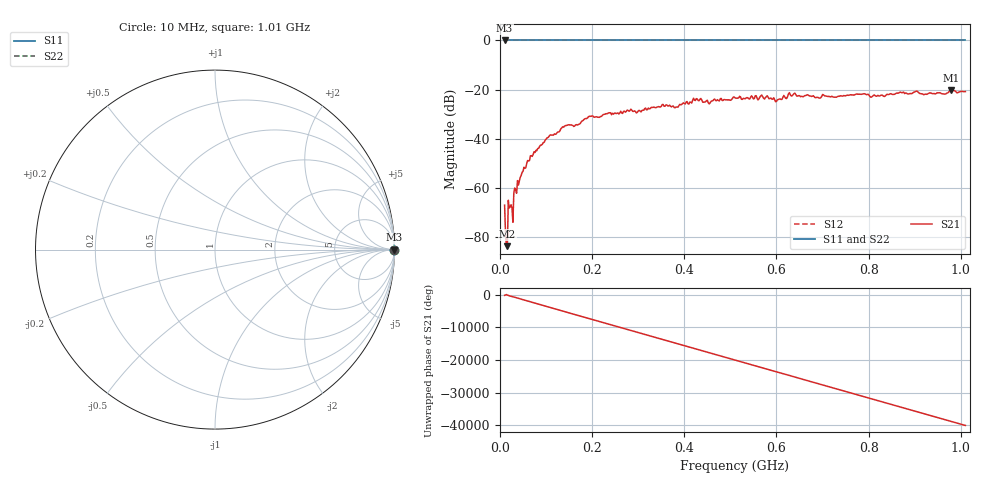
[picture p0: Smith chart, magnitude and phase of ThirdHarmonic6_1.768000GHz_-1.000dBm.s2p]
! 8/16/2025 9:21:25 PM
! C:\ANRITSUVNA\TEMP\TEMP.S2P
! CHANNEL.1
! TR.MEASUREMENT
! RAW.DATA
! RF.CORRECTION.OFF
! AVERAGING.OFF
! IF.BANDWIDTH: 5KHZ
! SWEEPTYPE:  FREQ.SWEEP(Linear)
! Reference Plane Port Info
! PORT:  PORT1  PORT2
! DISTANCE:  0  m  0  m
! TIME:  0  s  0  s
! PHASE.OFFSET:  0  deg.  0  deg.
! LOSS:  0  dB  0  dB
! REF.LOSS:  0  dB  0  dB
! REF.FREQ:  0  Hz  0  Hz
! Power Info
! POWER:  -20  dBm  -20  dBm
! EFF.POWER:  -20  dBm  -20  dBm
! SOURCE.ATTEN:  0  dB  0  dB
! TEST.ATTEN:  0  dB  0  dB
# GHZ S RI R 50.0
! FREQ.GHZ  S11RE  S11IM  S21RE  S21IM  S12RE  S12IM  S22RE  S22IM
!; PortSelection: Port_12
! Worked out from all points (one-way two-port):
!   501 points, 10 MHz to 1.01 GHz, reference 50 ohm
!   highest |S21| = -20.37 dB at 978 MHz (marker M1); lowest = -83.8 dB at 16 MHz (marker M2)
!   lowest |S11| = 0.0 dB at 10 MHz (marker M3)
!   |S11| at or under -10 dB: nowhere
!   |S22| runs from 0.0 to 0.0 dB; largest |S21 - S12| = 1.1
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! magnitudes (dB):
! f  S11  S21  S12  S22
! 10 MHz  0.0  -67.1  0.0  0.0
! 12 MHz  0.0  -78.9  0.0  0.0
! 16 MHz  0.0  -83.8  0.0  0.0
! 22 MHz  0.0  -67.8  0.0  0.0
! 24 MHz  0.0  -66.9  0.0  0.0
! 32 MHz  0.0  -60.1  0.0  0.0
! 34 MHz  0.0  -60.8  0.0  0.0
! 70 MHz  0.0  -47.2  0.0  0.0
! 106 MHz  0.0  -39.2  0.0  0.0
! 178 MHz  0.0  -32.8  0.0  0.0
! 196 MHz  0.0  -30.9  0.0  0.0
! 344 MHz  0.0  -26.9  0.0  0.0
! 382 MHz  0.0  -27.1  0.0  0.0
! 424 MHz  0.0  -24.5  0.0  0.0
! 456 MHz  0.0  -25.4  0.0  0.0
! 510 MHz  0.0  -23.3  0.0  0.0
! 600 MHz  0.0  -24.8  0.0  0.0
! 630 MHz  0.0  -22.1  0.0  0.0
! 678 MHz  0.0  -22.7  0.0  0.0
! 844 MHz  0.0  -22.0  0.0  0.0
! 978 MHz  0.0  -20.4  0.0  0.0
! 1.01 GHz  0.0  -20.8  0.0  0.0
